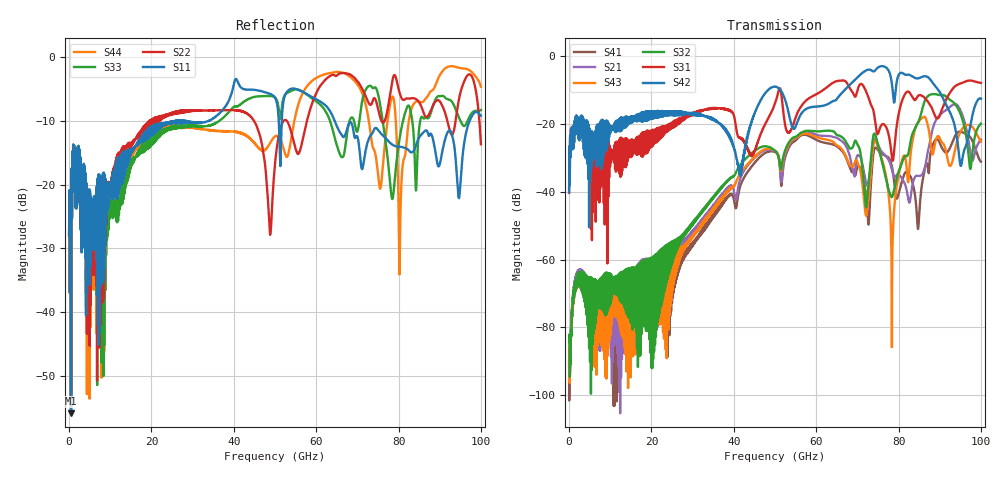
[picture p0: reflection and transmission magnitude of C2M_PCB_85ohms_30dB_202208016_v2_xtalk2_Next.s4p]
! Info: Touchstone file created by Circ.  Input file=Intel_C2M_200G_13p5in_202208016_staggered.circ
# Hz S RI R 50
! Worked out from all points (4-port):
!   10000 points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, 10 MHz to 100 GHz, reference 50 ohm
!   strongest paths, dB at 10 MHz, 25.01 GHz, 50.01 GHz, 75.01 GHz, 100 GHz:
!     S42: -40.1, -16.4, -8.9, -3.3, -12.5
!     S31: -40.3, -19.8, -13.8, -22.9, -7.8
!     S32: -82.3, -59.9, -27.9, -26.1, -19.9
!     S43: -86.2, -64.7, -27.9, -26.7, -25.2
!     S21: -91.7, -61.0, -28.1, -26.0, -24.6
!     S41: -90.0, -67.0, -28.2, -27.6, -31.0
!   lowest |S11| = -55.9 dB at 480 MHz (marker M1), VSWR 1.00, Z = 50.1 - j0.137 ohm
!   |S11| at or under -10 dB: start of sweep to 25.59 GHz; 28.5 GHz to 33.85 GHz (5.349 GHz wide, 17.2 % of centre); 64.51 GHz to 97.26 GHz (32.74 GHz wide, 40.5 % of centre)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
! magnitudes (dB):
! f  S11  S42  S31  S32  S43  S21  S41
! 10 MHz  -27.9  -40.1  -40.3  -82.3  -86.2  -91.7  -90.0
! 480 MHz  -55.9  -21.5  -21.4  -80.5  -82.0  -78.7  -80.2
! 56.48 GHz  -5.3  -16.7  -14.5  -22.5  -23.0  -22.5  -23.2
! 74.52 GHz  -11.1  -3.9  -21.1  -23.7  -25.2  -24.6  -26.9
! 78.43 GHz  -13.7  -8.4  -30.1  -41.5  -66.6  -33.6  -32.7
! 85.13 GHz  -12.5  -6.3  -11.4  -18.4  -18.8  -35.3  -44.6
! 100 GHz  -9.2  -12.5  -7.8  -19.9  -25.2  -24.6  -31.0
